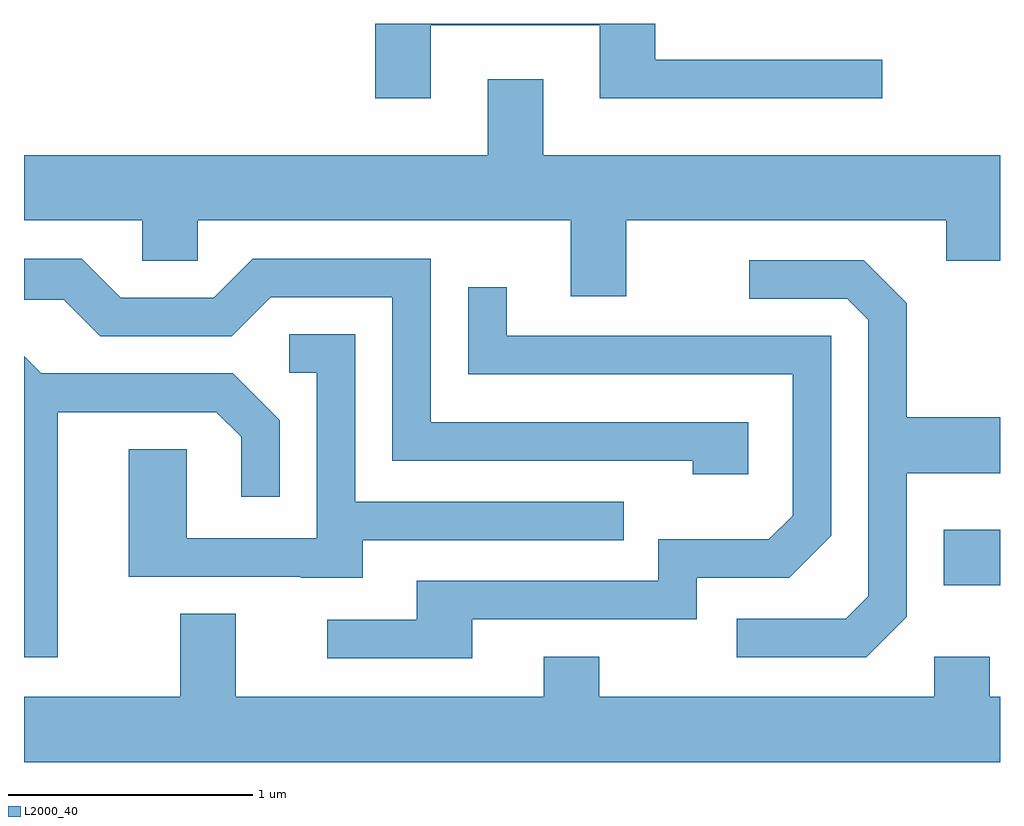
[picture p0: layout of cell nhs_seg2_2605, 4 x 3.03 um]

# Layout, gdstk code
import gdstk
lib = gdstk.Library(unit=1e-6, precision=1e-09)
def R(c, l, rs):  # rectangles x0, y0, x1, y1
    for r in rs: c.add(gdstk.rectangle(r[:2], r[2:], *l))
def P(c, l, *ps):  # polygons
    for p in ps: c.add(gdstk.Polygon(p, *l))
L2000_40 = (2000, 40)

nhs_seg2_2605 = lib.new_cell('nhs_seg2_2605')
R(nhs_seg2_2605, L2000_40, [(265.381,1033.501,265.611,1033.729)])
P(nhs_seg2_2605, L2000_40, [(263.279,1035.796),(263.971,1035.796),(263.971,1035.496),(265.128,1035.496),(265.128,1035.654),(264.199,1035.654),(264.199,1035.802),(263.051,1035.802),(263.051,1035.496),(263.279,1035.496)],
  [(264.079,1034.996),(265.391,1034.996),(265.391,1034.831),(265.611,1034.831),(265.611,1035.264),(263.739,1035.264),(263.739,1035.574),(263.511,1035.574),(263.511,1035.264),(261.611,1035.264),(261.611,1034.996),(262.096,1034.996),(262.096,1034.831),(262.324,1034.831),(262.324,1034.996),(263.851,1034.996),(263.851,1034.686),(264.079,1034.686)],
  [(264.579,1034.169),(263.279,1034.169),(263.279,1034.839),(262.549,1034.839),(262.389,1034.679),(262.007,1034.679),(261.847,1034.839),(261.611,1034.839),(261.611,1034.671),(261.774,1034.671),(261.924,1034.521),(262.462,1034.521),(262.622,1034.681),(263.121,1034.681),(263.121,1034.011),(264.351,1034.011),(264.351,1033.956),(264.579,1033.956)],
  [(265.229,1033.373),(265.229,1033.961),(265.611,1033.961),(265.611,1034.189),(265.229,1034.189),(265.229,1034.657),(265.052,1034.834),(264.583,1034.834),(264.583,1034.676),(264.984,1034.676),(265.071,1034.589),(265.071,1033.457),(264.979,1033.364),(264.533,1033.364),(264.533,1033.206),(265.062,1033.206)],
  [(263.449,1033.361),(264.369,1033.361),(264.369,1033.531),(264.747,1033.531),(264.919,1033.704),(264.919,1034.524),(263.589,1034.524),(263.589,1034.723),(263.431,1034.723),(263.431,1034.366),(264.761,1034.366),(264.761,1033.786),(264.664,1033.689),(264.211,1033.689),(264.211,1033.519),(263.221,1033.519),(263.221,1033.359),(262.853,1033.359),(262.853,1033.201),(263.449,1033.201)],
  [(262.999,1033.686),(264.068,1033.686),(264.068,1033.844),(262.969,1033.844),(262.969,1034.529),(262.698,1034.529),(262.698,1034.371),(262.811,1034.371),(262.811,1033.694),(262.279,1033.694),(262.279,1034.059),(262.041,1034.059),(262.041,1033.536),(262.745,1033.536),(262.745,1033.531),(262.999,1033.531)],
  [(261.749,1034.211),(262.399,1034.211),(262.501,1034.109),(262.501,1033.863),(262.659,1033.863),(262.659,1034.177),(262.467,1034.369),(261.682,1034.369),(261.611,1034.44),(261.611,1033.206),(261.749,1033.206)],
  [(265.611,1033.044),(265.569,1033.044),(265.569,1033.209),(265.341,1033.209),(265.341,1033.044),(263.969,1033.044),(263.969,1033.209),(263.741,1033.209),(263.741,1033.044),(262.479,1033.044),(262.479,1033.384),(262.251,1033.384),(262.251,1033.044),(261.611,1033.044),(261.611,1032.776),(265.611,1032.776)])

lib.write_gds('nhs_seg2_2605.gds')
